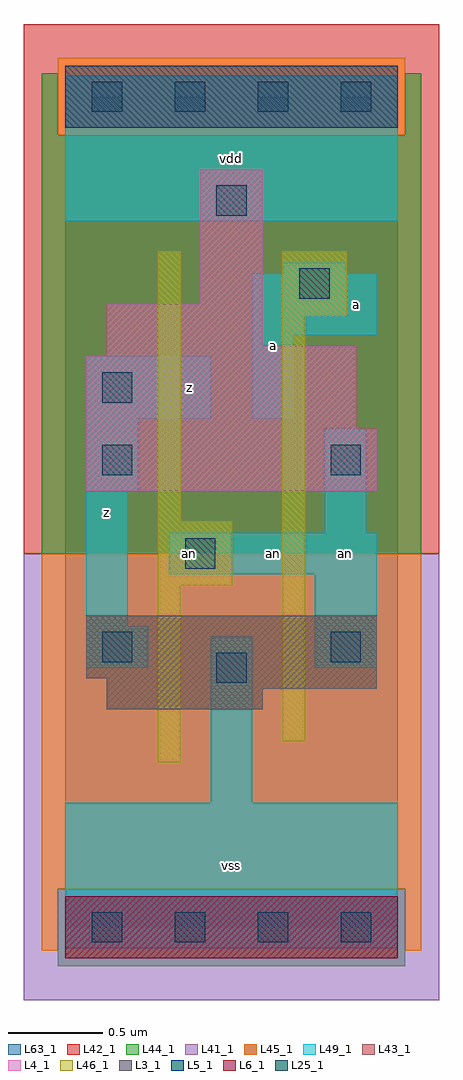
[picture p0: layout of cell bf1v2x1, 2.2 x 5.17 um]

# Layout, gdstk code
import gdstk
lib = gdstk.Library(unit=1e-6, precision=1e-09)
def R(c, l, rs):  # rectangles x0, y0, x1, y1
    for r in rs: c.add(gdstk.rectangle(r[:2], r[2:], *l))
def A(c, l, x, y, w, h, nx, ny, dx, dy):  # array of equal rectangles
    R(c, l, [(x+i*dx, y+j*dy, x+i*dx+w, y+j*dy+h) for i in range(nx) for j in range(ny)])
L3_1 = (3, 1)
L4_1 = (4, 1)
L5_1 = (5, 1)
L6_1 = (6, 1)
L25_1 = (25, 1)
L41_1 = (41, 1)
L42_1 = (42, 1)
L43_1 = (43, 1)
L44_1 = (44, 1)
L45_1 = (45, 1)
L46_1 = (46, 1)
L49_1 = (49, 1)
L63_1 = (63, 1)

bf1v2x1 = lib.new_cell('bf1v2x1')
R(bf1v2x1, L3_1, [(0.22,1.155,1.045,1.265), (0.22,1.265,1.65,1.32), (0.11,1.32,1.65,1.65)])
R(bf1v2x1, L4_1, [(0.11,2.31,1.65,2.64), (0.11,2.64,1.54,3.025), (0.22,3.025,1.54,3.08), (0.22,3.08,1.045,3.3), (0.715,3.3,1.045,4.015)])
R(bf1v2x1, L5_1, [(0,4.235,1.76,4.565)])
R(bf1v2x1, L6_1, [(0,-0.165,1.76,0.165)])
A(bf1v2x1, L25_1, 0.14, -0.08, 0.16, 0.16, 4, 2, 0.44, 4.4)
R(bf1v2x1, L25_1, [(0.8,1.295,0.96,1.455), (0.195,1.405,0.355,1.565), (1.405,1.405,1.565,1.565), (0.635,1.9,0.795,2.06), (0.195,2.395,0.355,2.555), (1.405,2.395,1.565,2.555), (0.195,2.78,0.355,2.94), (1.24,3.33,1.4,3.49), (0.8,3.77,0.96,3.93)])
R(bf1v2x1, L41_1, [(-0.22,-0.385,1.98,1.98)])
R(bf1v2x1, L42_1, [(-0.22,1.98,1.98,4.785)])
R(bf1v2x1, L43_1, [(0,-0.165,1.76,0.165), (0.22,1.155,1.045,1.265), (0.22,1.265,1.65,1.32), (0.11,1.32,1.65,1.65), (0.11,2.31,1.65,2.64), (0.11,2.64,1.54,3.025), (0.22,3.025,1.54,3.08), (0.22,3.08,1.045,3.3), (0.715,3.3,1.045,4.015), (0,4.235,1.76,4.565)])
R(bf1v2x1, L44_1, [(-0.04,-0.205,1.8,0.205), (-0.125,1.98,1.885,4.195), (-0.125,4.195,-0.04,4.525), (1.8,4.195,1.885,4.525)])
R(bf1v2x1, L45_1, [(-0.125,-0.125,-0.04,0.205), (1.8,-0.125,1.885,0.205), (-0.125,0.205,1.885,1.98), (-0.04,4.195,1.8,4.605)])
R(bf1v2x1, L46_1, [(0.49,0.875,0.61,1.81), (1.15,0.985,1.27,3.24), (0.49,1.81,0.885,2.15), (0.49,2.15,0.61,3.58), (1.15,3.24,1.49,3.58)])
R(bf1v2x1, L49_1, [(0,-0.11,1.76,0.66), (0.77,0.66,0.99,1.54), (0.11,1.375,0.44,1.595), (1.32,1.375,1.65,1.87), (0.11,1.595,0.33,2.31), (0.55,1.87,1.65,2.09), (1.375,2.09,1.595,2.64), (0.11,2.31,0.385,2.695), (0.11,2.695,0.77,3.025), (0.99,2.695,1.21,3.135), (0.99,3.135,1.65,3.465), (1.155,3.465,1.485,3.52), (0,3.74,1.76,4.51)])
R(bf1v2x1, L63_1, [(0,0,1.76,4.4)])
bf1v2x1.add(gdstk.Label('an', (0.66,1.98), layer=49, texttype=1))
bf1v2x1.add(gdstk.Label('z', (0.22,2.2), layer=49, texttype=1))
bf1v2x1.add(gdstk.Label('z', (0.66,2.86), layer=49, texttype=1))
bf1v2x1.add(gdstk.Label('vss', (0.88,0.33), layer=49, texttype=1))
bf1v2x1.add(gdstk.Label('a', (1.1,3.08), layer=49, texttype=1))
bf1v2x1.add(gdstk.Label('vdd', (0.88,4.07), layer=49, texttype=1))
bf1v2x1.add(gdstk.Label('an', (1.1,1.98), layer=49, texttype=1))
bf1v2x1.add(gdstk.Label('an', (1.485,1.98), layer=49, texttype=1))
bf1v2x1.add(gdstk.Label('a', (1.54,3.3), layer=49, texttype=1))

lib.write_gds('bf1v2x1.gds')
